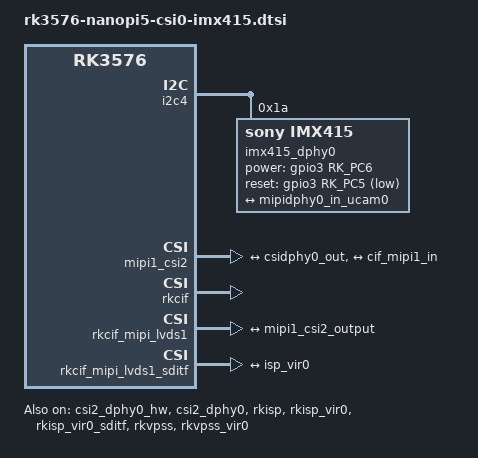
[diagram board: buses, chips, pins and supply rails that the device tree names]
// SPDX-License-Identifier: (GPL-2.0+ OR MIT)
/*
 * Copyright (c) 2025 FriendlyElec Computer Tech. Co., Ltd.
 * (http://www.friendlyelec.com)
 */

&csi2_dphy0_hw {
	status = "okay";
};

&csi2_dphy0 {
	status = "okay";

	ports {
		#address-cells = <1>;
		#size-cells = <0>;

		port@0 {
			reg = <0>;
			#address-cells = <1>;
			#size-cells = <0>;

			mipidphy0_in_ucam0: endpoint@1 {
				reg = <1>;
				remote-endpoint = <&imx415_out0>;
				data-lanes = <1 2 3 4>;
			};
		};

		port@1 {
			reg = <1>;
			#address-cells = <1>;
			#size-cells = <0>;

			csidphy0_out: endpoint@0 {
				reg = <0>;
				remote-endpoint = <&mipi1_csi2_input>;
			};
		};
	};
};

&i2c4 {
	status = "okay";
	pinctrl-names = "default";
	pinctrl-0 = <&i2c4m3_xfer>;

	imx415_dphy0: imx415@1a {
		compatible = "sony,imx415";
		reg = <0x1a>;
		clocks = <&cru CLK_MIPI_CAMERAOUT_M1>;
		clock-names = "xvclk";
		pinctrl-names = "default";
		pinctrl-0 = <&cam_clk1m0_clk1>;
		power-domains = <&power RK3576_PD_VI>;
		power-gpios = <&gpio3 RK_PC6 GPIO_ACTIVE_HIGH>;
		reset-gpios = <&gpio3 RK_PC5 GPIO_ACTIVE_LOW>;
		rockchip,camera-module-index = <0>;
		rockchip,camera-module-facing = "back";
		rockchip,camera-module-name = "CMK-OT2022-PX1";
		rockchip,camera-module-lens-name = "IR0147-50IRC-8M-F20";

		port {
			imx415_out0: endpoint {
				remote-endpoint = <&mipidphy0_in_ucam0>;
				data-lanes = <1 2 3 4>;
			};
		};
	};
};

&mipi1_csi2 {
	status = "okay";

	ports {
		#address-cells = <1>;
		#size-cells = <0>;

		port@0 {
			reg = <0>;
			#address-cells = <1>;
			#size-cells = <0>;

			mipi1_csi2_input: endpoint@1 {
				reg = <1>;
				remote-endpoint = <&csidphy0_out>;
			};
		};

		port@1 {
			reg = <1>;
			#address-cells = <1>;
			#size-cells = <0>;

			mipi1_csi2_output: endpoint@0 {
				reg = <0>;
				remote-endpoint = <&cif_mipi1_in>;
			};
		};
	};
};

&rkcif {
	status = "okay";
};

&rkcif_mipi_lvds1 {
	status = "okay";

	port {
		cif_mipi1_in: endpoint {
			remote-endpoint = <&mipi1_csi2_output>;
		};
	};
};

&rkcif_mipi_lvds1_sditf {
	status = "okay";

	port {
		mipi_lvds1_sditf: endpoint {
			remote-endpoint = <&isp_vir0>;
		};
	};
};

&rkcif_mmu {
	status = "okay";
};

&rkisp {
	status = "okay";
};

&rkisp_mmu {
	status = "okay";
};

&rkisp_vir0 {
	status = "okay";

	port {
		#address-cells = <1>;
		#size-cells = <0>;

		isp_vir0: endpoint@0 {
			reg = <0>;
			remote-endpoint = <&mipi_lvds1_sditf>;
		};
	};
};

&rkisp_vir0_sditf {
	status = "okay";
};

&rkvpss {
	status = "okay";
};

&rkvpss_mmu {
	status = "okay";
};

&rkvpss_vir0 {
	status = "okay";
};
